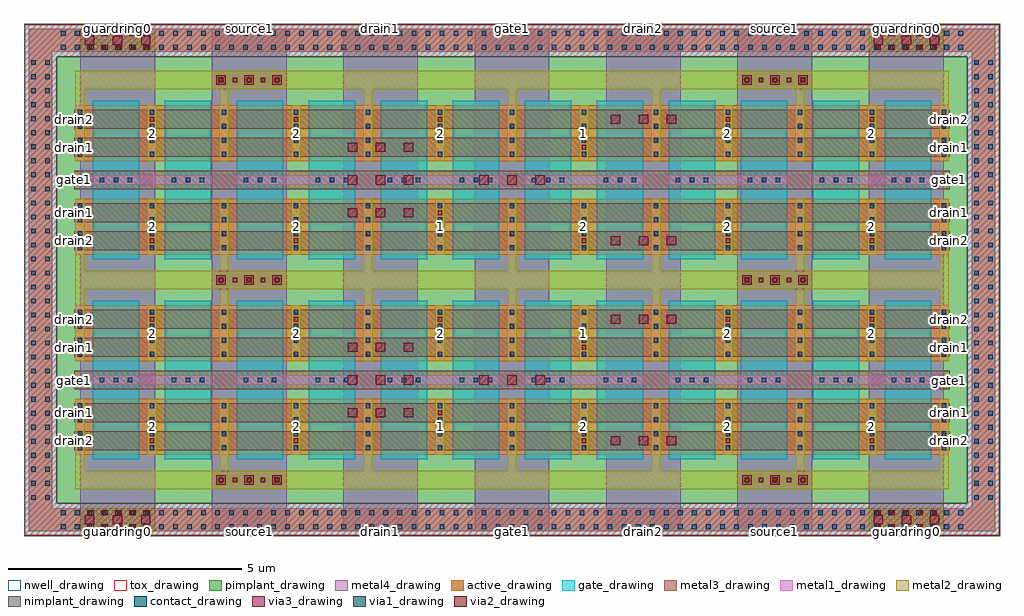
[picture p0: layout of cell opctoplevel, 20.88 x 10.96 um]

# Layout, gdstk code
import gdstk
lib = gdstk.Library(unit=1e-6, precision=1e-09)
def R(c, l, rs):  # rectangles x0, y0, x1, y1
    for r in rs: c.add(gdstk.rectangle(r[:2], r[2:], *l))
def A(c, l, x, y, w, h, nx, ny, dx, dy):  # array of equal rectangles
    R(c, l, [(x+i*dx, y+j*dy, x+i*dx+w, y+j*dy+h) for i in range(nx) for j in range(ny)])
active_drawing = (1, 0)
nwell_drawing = (3, 0)
pimplant_drawing = (4, 0)
nimplant_drawing = (5, 0)
gate_drawing = (6, 0)
contact_drawing = (7, 0)
metal1_drawing = (8, 0)
via1_drawing = (9, 0)
metal2_drawing = (10, 0)
via2_drawing = (11, 0)
metal3_drawing = (12, 0)
via3_drawing = (13, 0)
metal4_drawing = (14, 0)
tox_drawing = (32, 0)

opctoplevel = lib.new_cell('opctoplevel')
A(opctoplevel, active_drawing, -0.37, 0, 3.28, 1.2, 6, 2, 3.08, 2)
A(opctoplevel, active_drawing, -0.37, 4.28, 3.28, 1.2, 6, 2, 3.08, 2)
R(opctoplevel, active_drawing, [(-1.37,-1.64,19.31,-1.14), (-1.37,-1.64,-0.87,9.12), (18.81,-1.64,19.31,9.12), (-1.37,8.62,19.31,9.12)])
R(opctoplevel, nwell_drawing, [(-1.47,-1.74,19.41,9.22)])
R(opctoplevel, pimplant_drawing, [(-0.77,-1.04,18.71,8.52)])
R(opctoplevel, nimplant_drawing, [(-1.47,-1.74,19.41,-1.04), (-1.47,-1.74,-0.77,9.22), (18.71,-1.74,19.41,9.22), (-1.47,8.52,19.41,9.22)])
A(opctoplevel, gate_drawing, 0, -0.1, 1, 1.8, 12, 2, 1.54, 1.6)
A(opctoplevel, gate_drawing, 0, 4.18, 1, 1.8, 12, 2, 1.54, 1.6)
A(opctoplevel, contact_drawing, -0.68, -1.59, 0.1, 0.1, 65, 2, 0.3, 0.3)
A(opctoplevel, contact_drawing, -1.32, -0.96, 0.1, 0.1, 1, 32, 0, 0.3)
A(opctoplevel, contact_drawing, -1.02, -0.96, 0.1, 0.1, 1, 32, 0, 0.3)
A(opctoplevel, contact_drawing, 18.86, -0.96, 0.1, 0.1, 1, 32, 0, 0.3)
A(opctoplevel, contact_drawing, 19.16, -0.96, 0.1, 0.1, 1, 32, 0, 0.3)
A(opctoplevel, contact_drawing, -0.32, 0.1, 0.1, 0.1, 3, 4, 1.54, 0.3)
A(opctoplevel, contact_drawing, 2.76, 0.1, 0.1, 0.1, 3, 4, 1.54, 0.3)
A(opctoplevel, contact_drawing, 5.84, 0.1, 0.1, 0.1, 3, 4, 1.54, 0.3)
A(opctoplevel, contact_drawing, 8.92, 0.1, 0.1, 0.1, 3, 4, 1.54, 0.3)
A(opctoplevel, contact_drawing, 12, 0.1, 0.1, 0.1, 3, 4, 1.54, 0.3)
A(opctoplevel, contact_drawing, 15.08, 0.1, 0.1, 0.1, 3, 4, 1.54, 0.3)
A(opctoplevel, contact_drawing, -0.32, 2.1, 0.1, 0.1, 3, 4, 1.54, 0.3)
A(opctoplevel, contact_drawing, 2.76, 2.1, 0.1, 0.1, 3, 4, 1.54, 0.3)
A(opctoplevel, contact_drawing, 5.84, 2.1, 0.1, 0.1, 3, 4, 1.54, 0.3)
A(opctoplevel, contact_drawing, 8.92, 2.1, 0.1, 0.1, 3, 4, 1.54, 0.3)
A(opctoplevel, contact_drawing, 12, 2.1, 0.1, 0.1, 3, 4, 1.54, 0.3)
A(opctoplevel, contact_drawing, 15.08, 2.1, 0.1, 0.1, 3, 4, 1.54, 0.3)
A(opctoplevel, contact_drawing, -0.32, 4.38, 0.1, 0.1, 3, 4, 1.54, 0.3)
A(opctoplevel, contact_drawing, 2.76, 4.38, 0.1, 0.1, 3, 4, 1.54, 0.3)
A(opctoplevel, contact_drawing, 5.84, 4.38, 0.1, 0.1, 3, 4, 1.54, 0.3)
A(opctoplevel, contact_drawing, 8.92, 4.38, 0.1, 0.1, 3, 4, 1.54, 0.3)
A(opctoplevel, contact_drawing, 12, 4.38, 0.1, 0.1, 3, 4, 1.54, 0.3)
A(opctoplevel, contact_drawing, 15.08, 4.38, 0.1, 0.1, 3, 4, 1.54, 0.3)
A(opctoplevel, contact_drawing, -0.32, 6.38, 0.1, 0.1, 3, 4, 1.54, 0.3)
A(opctoplevel, contact_drawing, 2.76, 6.38, 0.1, 0.1, 3, 4, 1.54, 0.3)
A(opctoplevel, contact_drawing, 5.84, 6.38, 0.1, 0.1, 3, 4, 1.54, 0.3)
A(opctoplevel, contact_drawing, 8.92, 6.38, 0.1, 0.1, 3, 4, 1.54, 0.3)
A(opctoplevel, contact_drawing, 12, 6.38, 0.1, 0.1, 3, 4, 1.54, 0.3)
A(opctoplevel, contact_drawing, 15.08, 6.38, 0.1, 0.1, 3, 4, 1.54, 0.3)
A(opctoplevel, contact_drawing, -0.68, 8.67, 0.1, 0.1, 65, 2, 0.3, 0.3)
R(opctoplevel, contact_drawing, [(0.15,1.55,0.25,1.65), (0.15,1.55,0.25,1.65), (0.45,1.55,0.55,1.65), (0.45,1.55,0.55,1.65), (0.75,1.55,0.85,1.65), (0.75,1.55,0.85,1.65), (1.69,1.55,1.79,1.65), (1.69,1.55,1.79,1.65), (1.99,1.55,2.09,1.65), (1.99,1.55,2.09,1.65), (2.29,1.55,2.39,1.65), (2.29,1.55,2.39,1.65), (3.23,1.55,3.33,1.65), (3.23,1.55,3.33,1.65), (3.53,1.55,3.63,1.65), (3.53,1.55,3.63,1.65), (3.83,1.55,3.93,1.65), (3.83,1.55,3.93,1.65), (4.77,1.55,4.87,1.65), (4.77,1.55,4.87,1.65), (5.07,1.55,5.17,1.65), (5.07,1.55,5.17,1.65), (5.37,1.55,5.47,1.65), (5.37,1.55,5.47,1.65), (6.31,1.55,6.41,1.65), (6.31,1.55,6.41,1.65), (6.61,1.55,6.71,1.65), (6.61,1.55,6.71,1.65), (6.91,1.55,7.01,1.65), (6.91,1.55,7.01,1.65), (7.85,1.55,7.95,1.65), (7.85,1.55,7.95,1.65), (8.15,1.55,8.25,1.65), (8.15,1.55,8.25,1.65), (8.45,1.55,8.55,1.65), (8.45,1.55,8.55,1.65), (9.39,1.55,9.49,1.65), (9.39,1.55,9.49,1.65), (9.69,1.55,9.79,1.65), (9.69,1.55,9.79,1.65), (9.99,1.55,10.09,1.65), (9.99,1.55,10.09,1.65), (10.93,1.55,11.03,1.65), (10.93,1.55,11.03,1.65), (11.23,1.55,11.33,1.65), (11.23,1.55,11.33,1.65), (11.53,1.55,11.63,1.65), (11.53,1.55,11.63,1.65), (12.47,1.55,12.57,1.65), (12.47,1.55,12.57,1.65), (12.77,1.55,12.87,1.65), (12.77,1.55,12.87,1.65), (13.07,1.55,13.17,1.65), (13.07,1.55,13.17,1.65), (14.01,1.55,14.11,1.65), (14.01,1.55,14.11,1.65), (14.31,1.55,14.41,1.65), (14.31,1.55,14.41,1.65), (14.61,1.55,14.71,1.65), (14.61,1.55,14.71,1.65), (15.55,1.55,15.65,1.65), (15.55,1.55,15.65,1.65), (15.85,1.55,15.95,1.65), (15.85,1.55,15.95,1.65), (16.15,1.55,16.25,1.65), (16.15,1.55,16.25,1.65), (17.09,1.55,17.19,1.65), (17.09,1.55,17.19,1.65), (17.39,1.55,17.49,1.65), (17.39,1.55,17.49,1.65), (17.69,1.55,17.79,1.65), (17.69,1.55,17.79,1.65), (0.15,5.83,0.25,5.93), (0.15,5.83,0.25,5.93), (0.45,5.83,0.55,5.93), (0.45,5.83,0.55,5.93), (0.75,5.83,0.85,5.93), (0.75,5.83,0.85,5.93), (1.69,5.83,1.79,5.93), (1.69,5.83,1.79,5.93), (1.99,5.83,2.09,5.93), (1.99,5.83,2.09,5.93), (2.29,5.83,2.39,5.93), (2.29,5.83,2.39,5.93), (3.23,5.83,3.33,5.93), (3.23,5.83,3.33,5.93), (3.53,5.83,3.63,5.93), (3.53,5.83,3.63,5.93), (3.83,5.83,3.93,5.93), (3.83,5.83,3.93,5.93), (4.77,5.83,4.87,5.93), (4.77,5.83,4.87,5.93), (5.07,5.83,5.17,5.93), (5.07,5.83,5.17,5.93), (5.37,5.83,5.47,5.93), (5.37,5.83,5.47,5.93), (6.31,5.83,6.41,5.93), (6.31,5.83,6.41,5.93), (6.61,5.83,6.71,5.93), (6.61,5.83,6.71,5.93), (6.91,5.83,7.01,5.93), (6.91,5.83,7.01,5.93), (7.85,5.83,7.95,5.93), (7.85,5.83,7.95,5.93), (8.15,5.83,8.25,5.93), (8.15,5.83,8.25,5.93), (8.45,5.83,8.55,5.93), (8.45,5.83,8.55,5.93), (9.39,5.83,9.49,5.93), (9.39,5.83,9.49,5.93), (9.69,5.83,9.79,5.93), (9.69,5.83,9.79,5.93), (9.99,5.83,10.09,5.93), (9.99,5.83,10.09,5.93), (10.93,5.83,11.03,5.93), (10.93,5.83,11.03,5.93), (11.23,5.83,11.33,5.93), (11.23,5.83,11.33,5.93), (11.53,5.83,11.63,5.93), (11.53,5.83,11.63,5.93), (12.47,5.83,12.57,5.93), (12.47,5.83,12.57,5.93), (12.77,5.83,12.87,5.93), (12.77,5.83,12.87,5.93), (13.07,5.83,13.17,5.93), (13.07,5.83,13.17,5.93), (14.01,5.83,14.11,5.93), (14.01,5.83,14.11,5.93), (14.31,5.83,14.41,5.93), (14.31,5.83,14.41,5.93), (14.61,5.83,14.71,5.93), (14.61,5.83,14.71,5.93), (15.55,5.83,15.65,5.93), (15.55,5.83,15.65,5.93), (15.85,5.83,15.95,5.93), (15.85,5.83,15.95,5.93), (16.15,5.83,16.25,5.93), (16.15,5.83,16.25,5.93), (17.09,5.83,17.19,5.93), (17.09,5.83,17.19,5.93), (17.39,5.83,17.49,5.93), (17.39,5.83,17.49,5.93), (17.69,5.83,17.79,5.93), (17.69,5.83,17.79,5.93)])
A(opctoplevel, metal1_drawing, -0.37, 0, 0.2, 1.2, 3, 2, 1.54, 2)
A(opctoplevel, metal1_drawing, 2.71, 0, 0.2, 1.2, 3, 2, 1.54, 2)
A(opctoplevel, metal1_drawing, 5.79, 0, 0.2, 1.2, 3, 2, 1.54, 2)
A(opctoplevel, metal1_drawing, 8.87, 0, 0.2, 1.2, 3, 2, 1.54, 2)
A(opctoplevel, metal1_drawing, 11.95, 0, 0.2, 1.2, 3, 2, 1.54, 2)
A(opctoplevel, metal1_drawing, 15.03, 0, 0.2, 1.2, 3, 2, 1.54, 2)
A(opctoplevel, metal1_drawing, -0.37, 4.28, 0.2, 1.2, 3, 2, 1.54, 2)
A(opctoplevel, metal1_drawing, 2.71, 4.28, 0.2, 1.2, 3, 2, 1.54, 2)
A(opctoplevel, metal1_drawing, 5.79, 4.28, 0.2, 1.2, 3, 2, 1.54, 2)
A(opctoplevel, metal1_drawing, 8.87, 4.28, 0.2, 1.2, 3, 2, 1.54, 2)
A(opctoplevel, metal1_drawing, 11.95, 4.28, 0.2, 1.2, 3, 2, 1.54, 2)
A(opctoplevel, metal1_drawing, 15.03, 4.28, 0.2, 1.2, 3, 2, 1.54, 2)
R(opctoplevel, metal1_drawing, [(-1.37,-1.64,19.31,-1.14), (-1.37,-1.64,-0.87,9.12), (-0.266,-1.64,1.334,-1.14), (16.606,-1.64,18.206,-1.14), (18.81,-1.64,19.31,9.12), (0,1.5,2.54,1.7), (0,1.5,2.54,1.7), (3.08,1.5,5.62,1.7), (3.08,1.5,5.62,1.7), (6.16,1.5,8.7,1.7), (6.16,1.5,8.7,1.7), (9.24,1.5,11.78,1.7), (9.24,1.5,11.78,1.7), (12.32,1.5,14.86,1.7), (12.32,1.5,14.86,1.7), (15.4,1.5,17.94,1.7), (15.4,1.5,17.94,1.7), (0,5.78,2.54,5.98), (0,5.78,2.54,5.98), (3.08,5.78,5.62,5.98), (3.08,5.78,5.62,5.98), (6.16,5.78,8.7,5.98), (6.16,5.78,8.7,5.98), (9.24,5.78,11.78,5.98), (9.24,5.78,11.78,5.98), (12.32,5.78,14.86,5.98), (12.32,5.78,14.86,5.98), (15.4,5.78,17.94,5.98), (15.4,5.78,17.94,5.98), (-1.37,8.62,19.31,9.12), (-0.266,8.62,1.334,9.12), (16.606,8.62,18.206,9.12)])
A(opctoplevel, via1_drawing, -0.116, -1.59, 0.1, 0.1, 5, 2, 0.3, 0.3)
A(opctoplevel, via1_drawing, 16.756, -1.59, 0.1, 0.1, 5, 2, 0.3, 0.3)
A(opctoplevel, via1_drawing, -0.32, 0.1, 0.1, 0.1, 3, 4, 1.54, 0.3)
A(opctoplevel, via1_drawing, 2.76, 0.1, 0.1, 0.1, 3, 4, 1.54, 0.3)
A(opctoplevel, via1_drawing, 5.84, 0.1, 0.1, 0.1, 3, 4, 1.54, 0.3)
A(opctoplevel, via1_drawing, 8.92, 0.1, 0.1, 0.1, 3, 4, 1.54, 0.3)
A(opctoplevel, via1_drawing, 12, 0.1, 0.1, 0.1, 3, 4, 1.54, 0.3)
A(opctoplevel, via1_drawing, 15.08, 0.1, 0.1, 0.1, 3, 4, 1.54, 0.3)
A(opctoplevel, via1_drawing, -0.32, 2.1, 0.1, 0.1, 3, 4, 1.54, 0.3)
A(opctoplevel, via1_drawing, 2.76, 2.1, 0.1, 0.1, 3, 4, 1.54, 0.3)
A(opctoplevel, via1_drawing, 5.84, 2.1, 0.1, 0.1, 3, 4, 1.54, 0.3)
A(opctoplevel, via1_drawing, 8.92, 2.1, 0.1, 0.1, 3, 4, 1.54, 0.3)
A(opctoplevel, via1_drawing, 12, 2.1, 0.1, 0.1, 3, 4, 1.54, 0.3)
A(opctoplevel, via1_drawing, 15.08, 2.1, 0.1, 0.1, 3, 4, 1.54, 0.3)
A(opctoplevel, via1_drawing, -0.32, 4.38, 0.1, 0.1, 3, 4, 1.54, 0.3)
A(opctoplevel, via1_drawing, 2.76, 4.38, 0.1, 0.1, 3, 4, 1.54, 0.3)
A(opctoplevel, via1_drawing, 5.84, 4.38, 0.1, 0.1, 3, 4, 1.54, 0.3)
A(opctoplevel, via1_drawing, 8.92, 4.38, 0.1, 0.1, 3, 4, 1.54, 0.3)
A(opctoplevel, via1_drawing, 12, 4.38, 0.1, 0.1, 3, 4, 1.54, 0.3)
A(opctoplevel, via1_drawing, 15.08, 4.38, 0.1, 0.1, 3, 4, 1.54, 0.3)
A(opctoplevel, via1_drawing, -0.32, 6.38, 0.1, 0.1, 3, 4, 1.54, 0.3)
A(opctoplevel, via1_drawing, 2.76, 6.38, 0.1, 0.1, 3, 4, 1.54, 0.3)
A(opctoplevel, via1_drawing, 5.84, 6.38, 0.1, 0.1, 3, 4, 1.54, 0.3)
A(opctoplevel, via1_drawing, 8.92, 6.38, 0.1, 0.1, 3, 4, 1.54, 0.3)
A(opctoplevel, via1_drawing, 12, 6.38, 0.1, 0.1, 3, 4, 1.54, 0.3)
A(opctoplevel, via1_drawing, 15.08, 6.38, 0.1, 0.1, 3, 4, 1.54, 0.3)
A(opctoplevel, via1_drawing, -0.116, 8.67, 0.1, 0.1, 5, 2, 0.3, 0.3)
A(opctoplevel, via1_drawing, 16.756, 8.67, 0.1, 0.1, 5, 2, 0.3, 0.3)
A(opctoplevel, metal2_drawing, -0.37, -0.74, 3.28, 0.4, 6, 2, 3.08, 8.56)
A(opctoplevel, metal2_drawing, -0.37, 0, 0.2, 1.2, 3, 2, 1.54, 2)
A(opctoplevel, metal2_drawing, 2.71, 0, 0.2, 1.2, 3, 2, 1.54, 2)
A(opctoplevel, metal2_drawing, 5.79, 0, 0.2, 1.2, 3, 2, 1.54, 2)
A(opctoplevel, metal2_drawing, 8.87, 0, 0.2, 1.2, 3, 2, 1.54, 2)
A(opctoplevel, metal2_drawing, 11.95, 0, 0.2, 1.2, 3, 2, 1.54, 2)
A(opctoplevel, metal2_drawing, 15.03, 0, 0.2, 1.2, 3, 2, 1.54, 2)
A(opctoplevel, metal2_drawing, 10.41, 0.1, 0.2, 0.4, 3, 2, 3.08, 4.28)
A(opctoplevel, metal2_drawing, 1.17, 2.7, 0.2, 0.4, 3, 2, 3.08, 4.28)
A(opctoplevel, metal2_drawing, -0.37, 4.28, 0.2, 1.2, 3, 2, 1.54, 2)
A(opctoplevel, metal2_drawing, 2.71, 4.28, 0.2, 1.2, 3, 2, 1.54, 2)
A(opctoplevel, metal2_drawing, 5.79, 4.28, 0.2, 1.2, 3, 2, 1.54, 2)
A(opctoplevel, metal2_drawing, 8.87, 4.28, 0.2, 1.2, 3, 2, 1.54, 2)
A(opctoplevel, metal2_drawing, 11.95, 4.28, 0.2, 1.2, 3, 2, 1.54, 2)
A(opctoplevel, metal2_drawing, 15.03, 4.28, 0.2, 1.2, 3, 2, 1.54, 2)
R(opctoplevel, metal2_drawing, [(-0.266,-1.64,1.334,-1.14), (16.606,-1.64,18.206,-1.14), (2.546,-0.74,4.146,-0.34), (13.794,-0.74,15.394,-0.34), (-0.37,-0.34,-0.17,0), (2.71,-0.34,2.91,0), (2.71,-0.34,2.91,0), (5.79,-0.34,5.99,0), (5.79,-0.34,5.99,0), (8.87,-0.34,9.07,0), (8.87,-0.34,9.07,0), (11.95,-0.34,12.15,0), (11.95,-0.34,12.15,0), (15.03,-0.34,15.23,0), (15.03,-0.34,15.23,0), (18.11,-0.34,18.31,0), (1.17,0.1,1.37,0.5), (4.25,0.1,4.45,0.5), (7.33,0.7,7.53,1.1), (10.41,2.1,10.61,2.5), (13.49,2.7,13.69,3.1), (16.57,2.7,16.77,3.1), (-0.37,3.2,-0.17,3.54), (2.71,3.2,2.91,3.54), (2.71,3.2,2.91,3.54), (5.79,3.2,5.99,3.54), (5.79,3.2,5.99,3.54), (8.87,3.2,9.07,3.54), (8.87,3.2,9.07,3.54), (11.95,3.2,12.15,3.54), (11.95,3.2,12.15,3.54), (15.03,3.2,15.23,3.54), (15.03,3.2,15.23,3.54), (18.11,3.2,18.31,3.54), (-0.37,3.54,2.91,3.94), (-0.37,3.54,2.91,3.94), (2.546,3.54,4.146,3.94), (2.546,3.54,4.146,3.94), (2.71,3.54,5.99,3.94), (2.71,3.54,5.99,3.94), (5.79,3.54,9.07,3.94), (5.79,3.54,9.07,3.94), (8.87,3.54,12.15,3.94), (8.87,3.54,12.15,3.94), (11.95,3.54,15.23,3.94), (11.95,3.54,15.23,3.94), (13.794,3.54,15.394,3.94), (13.794,3.54,15.394,3.94), (15.03,3.54,18.31,3.94), (15.03,3.54,18.31,3.94), (-0.37,3.94,-0.17,4.28), (2.71,3.94,2.91,4.28), (2.71,3.94,2.91,4.28), (5.79,3.94,5.99,4.28), (5.79,3.94,5.99,4.28), (8.87,3.94,9.07,4.28), (8.87,3.94,9.07,4.28), (11.95,3.94,12.15,4.28), (11.95,3.94,12.15,4.28), (15.03,3.94,15.23,4.28), (15.03,3.94,15.23,4.28), (18.11,3.94,18.31,4.28), (1.17,4.38,1.37,4.78), (4.25,4.38,4.45,4.78), (7.33,4.98,7.53,5.38), (10.41,6.38,10.61,6.78), (13.49,6.98,13.69,7.38), (16.57,6.98,16.77,7.38), (-0.37,7.48,-0.17,7.82), (2.71,7.48,2.91,7.82), (2.71,7.48,2.91,7.82), (5.79,7.48,5.99,7.82), (5.79,7.48,5.99,7.82), (8.87,7.48,9.07,7.82), (8.87,7.48,9.07,7.82), (11.95,7.48,12.15,7.82), (11.95,7.48,12.15,7.82), (15.03,7.48,15.23,7.82), (15.03,7.48,15.23,7.82), (18.11,7.48,18.31,7.82), (2.546,7.82,4.146,8.22), (13.794,7.82,15.394,8.22), (-0.266,8.62,1.334,9.12), (16.606,8.62,18.206,9.12)])
A(opctoplevel, via2_drawing, -0.116, -1.59, 0.1, 0.1, 5, 2, 0.3, 0.3)
A(opctoplevel, via2_drawing, 16.756, -1.59, 0.1, 0.1, 5, 2, 0.3, 0.3)
A(opctoplevel, via2_drawing, 2.696, -0.59, 0.1, 0.1, 5, 2, 0.3, 8.56)
A(opctoplevel, via2_drawing, 13.944, -0.59, 0.1, 0.1, 5, 2, 0.3, 8.56)
A(opctoplevel, via2_drawing, 10.46, 0.25, 0.1, 0.1, 3, 2, 3.08, 4.28)
A(opctoplevel, via2_drawing, 1.22, 2.85, 0.1, 0.1, 3, 2, 3.08, 4.28)
A(opctoplevel, via2_drawing, -0.116, 8.67, 0.1, 0.1, 5, 2, 0.3, 0.3)
A(opctoplevel, via2_drawing, 16.756, 8.67, 0.1, 0.1, 5, 2, 0.3, 0.3)
R(opctoplevel, via2_drawing, [(1.22,0.25,1.32,0.35), (4.3,0.25,4.4,0.35), (7.38,0.85,7.48,0.95), (10.46,2.25,10.56,2.35), (13.54,2.85,13.64,2.95), (16.62,2.85,16.72,2.95), (2.696,3.69,2.796,3.79), (2.696,3.69,2.796,3.79), (2.996,3.69,3.096,3.79), (2.996,3.69,3.096,3.79), (3.296,3.69,3.396,3.79), (3.296,3.69,3.396,3.79), (3.596,3.69,3.696,3.79), (3.596,3.69,3.696,3.79), (3.896,3.69,3.996,3.79), (3.896,3.69,3.996,3.79), (13.944,3.69,14.044,3.79), (13.944,3.69,14.044,3.79), (14.244,3.69,14.344,3.79), (14.244,3.69,14.344,3.79), (14.544,3.69,14.644,3.79), (14.544,3.69,14.644,3.79), (14.844,3.69,14.944,3.79), (14.844,3.69,14.944,3.79), (15.144,3.69,15.244,3.79), (15.144,3.69,15.244,3.79), (1.22,4.53,1.32,4.63), (4.3,4.53,4.4,4.63), (7.38,5.13,7.48,5.23), (10.46,6.53,10.56,6.63), (13.54,7.13,13.64,7.23), (16.62,7.13,16.72,7.23)])
A(opctoplevel, metal3_drawing, 10.41, 0.1, 0.2, 0.4, 3, 2, 3.08, 4.28)
A(opctoplevel, metal3_drawing, -0.4, 0.7, 18.74, 0.4, 1, 3, 0, 0.7)
A(opctoplevel, metal3_drawing, 1.17, 2.7, 0.2, 0.4, 3, 2, 3.08, 4.28)
A(opctoplevel, metal3_drawing, -0.4, 4.98, 18.74, 0.4, 1, 3, 0, 0.7)
R(opctoplevel, metal3_drawing, [(-0.266,-1.64,1.334,-1.14), (16.606,-1.64,18.206,-1.14), (2.546,-0.74,4.146,-0.34), (13.794,-0.74,15.394,-0.34), (-0.4,0.1,18.34,0.5), (1.17,0.1,1.37,0.5), (4.25,0.1,4.45,0.5), (7.33,0.7,7.53,1.1), (10.41,2.1,10.61,2.5), (-0.4,2.7,18.34,3.1), (13.49,2.7,13.69,3.1), (16.57,2.7,16.77,3.1), (2.546,3.54,4.146,3.94), (2.546,3.54,4.146,3.94), (13.794,3.54,15.394,3.94), (13.794,3.54,15.394,3.94), (-0.4,4.38,18.34,4.78), (1.17,4.38,1.37,4.78), (4.25,4.38,4.45,4.78), (7.33,4.98,7.53,5.38), (10.41,6.38,10.61,6.78), (-0.4,6.98,18.34,7.38), (13.49,6.98,13.69,7.38), (16.57,6.98,16.77,7.38), (2.546,7.82,4.146,8.22), (13.794,7.82,15.394,8.22), (-0.266,8.62,1.334,9.12), (16.606,8.62,18.206,9.12)])
A(opctoplevel, via3_drawing, -0.166, -1.49, 0.2, 0.2, 3, 2, 0.6, 10.26)
A(opctoplevel, via3_drawing, 16.706, -1.49, 0.2, 0.2, 3, 2, 0.6, 10.26)
A(opctoplevel, via3_drawing, 2.646, -0.64, 0.2, 0.2, 3, 2, 0.6, 8.56)
A(opctoplevel, via3_drawing, 13.894, -0.64, 0.2, 0.2, 3, 2, 0.6, 8.56)
A(opctoplevel, via3_drawing, 11.082, 0.2, 0.2, 0.2, 3, 2, 0.6, 2.6)
A(opctoplevel, via3_drawing, 5.458, 0.8, 0.2, 0.2, 3, 2, 0.6, 1.4)
A(opctoplevel, via3_drawing, 11.082, 4.48, 0.2, 0.2, 3, 2, 0.6, 2.6)
A(opctoplevel, via3_drawing, 5.458, 5.08, 0.2, 0.2, 3, 2, 0.6, 1.4)
R(opctoplevel, via3_drawing, [(5.458,1.5,5.658,1.7), (5.458,1.5,5.658,1.7), (5.458,1.5,5.658,1.7), (5.458,1.5,5.658,1.7), (5.458,1.5,5.658,1.7), (5.458,1.5,5.658,1.7), (5.458,1.5,5.658,1.7), (5.458,1.5,5.658,1.7), (5.458,1.5,5.658,1.7), (5.458,1.5,5.658,1.7), (5.458,1.5,5.658,1.7), (5.458,1.5,5.658,1.7), (6.058,1.5,6.258,1.7), (6.058,1.5,6.258,1.7), (6.058,1.5,6.258,1.7), (6.058,1.5,6.258,1.7), (6.058,1.5,6.258,1.7), (6.058,1.5,6.258,1.7), (6.058,1.5,6.258,1.7), (6.058,1.5,6.258,1.7), (6.058,1.5,6.258,1.7), (6.058,1.5,6.258,1.7), (6.058,1.5,6.258,1.7), (6.058,1.5,6.258,1.7), (6.658,1.5,6.858,1.7), (6.658,1.5,6.858,1.7), (6.658,1.5,6.858,1.7), (6.658,1.5,6.858,1.7), (6.658,1.5,6.858,1.7), (6.658,1.5,6.858,1.7), (6.658,1.5,6.858,1.7), (6.658,1.5,6.858,1.7), (6.658,1.5,6.858,1.7), (6.658,1.5,6.858,1.7), (6.658,1.5,6.858,1.7), (6.658,1.5,6.858,1.7), (8.27,1.5,8.47,1.7), (8.27,1.5,8.47,1.7), (8.87,1.5,9.07,1.7), (8.87,1.5,9.07,1.7), (9.47,1.5,9.67,1.7), (9.47,1.5,9.67,1.7), (2.646,3.64,2.846,3.84), (2.646,3.64,2.846,3.84), (3.246,3.64,3.446,3.84), (3.246,3.64,3.446,3.84), (3.846,3.64,4.046,3.84), (3.846,3.64,4.046,3.84), (13.894,3.64,14.094,3.84), (13.894,3.64,14.094,3.84), (14.494,3.64,14.694,3.84), (14.494,3.64,14.694,3.84), (15.094,3.64,15.294,3.84), (15.094,3.64,15.294,3.84), (5.458,5.78,5.658,5.98), (5.458,5.78,5.658,5.98), (5.458,5.78,5.658,5.98), (5.458,5.78,5.658,5.98), (5.458,5.78,5.658,5.98), (5.458,5.78,5.658,5.98), (5.458,5.78,5.658,5.98), (5.458,5.78,5.658,5.98), (5.458,5.78,5.658,5.98), (5.458,5.78,5.658,5.98), (5.458,5.78,5.658,5.98), (5.458,5.78,5.658,5.98), (6.058,5.78,6.258,5.98), (6.058,5.78,6.258,5.98), (6.058,5.78,6.258,5.98), (6.058,5.78,6.258,5.98), (6.058,5.78,6.258,5.98), (6.058,5.78,6.258,5.98), (6.058,5.78,6.258,5.98), (6.058,5.78,6.258,5.98), (6.058,5.78,6.258,5.98), (6.058,5.78,6.258,5.98), (6.058,5.78,6.258,5.98), (6.058,5.78,6.258,5.98), (6.658,5.78,6.858,5.98), (6.658,5.78,6.858,5.98), (6.658,5.78,6.858,5.98), (6.658,5.78,6.858,5.98), (6.658,5.78,6.858,5.98), (6.658,5.78,6.858,5.98), (6.658,5.78,6.858,5.98), (6.658,5.78,6.858,5.98), (6.658,5.78,6.858,5.98), (6.658,5.78,6.858,5.98), (6.658,5.78,6.858,5.98), (6.658,5.78,6.858,5.98), (8.27,5.78,8.47,5.98), (8.27,5.78,8.47,5.98), (8.87,5.78,9.07,5.98), (8.87,5.78,9.07,5.98), (9.47,5.78,9.67,5.98), (9.47,5.78,9.67,5.98)])
A(opctoplevel, metal4_drawing, -0.266, -1.64, 1.6, 10.76, 7, 1, 2.812, 0)
R(opctoplevel, metal4_drawing, [(-0.266,-1.64,1.334,-1.14), (16.606,-1.64,18.206,-1.14), (2.546,-0.74,4.146,-0.34), (13.794,-0.74,15.394,-0.34), (2.546,3.54,4.146,3.94), (2.546,3.54,4.146,3.94), (13.794,3.54,15.394,3.94), (13.794,3.54,15.394,3.94), (2.546,7.82,4.146,8.22), (13.794,7.82,15.394,8.22), (-0.266,8.62,1.334,9.12), (16.606,8.62,18.206,9.12)])
R(opctoplevel, tox_drawing, [(-1.45,-1.72,19.39,9.2)])
opctoplevel.add(gdstk.Label('2', (1.27,0.6), layer=234, texttype=0))
opctoplevel.add(gdstk.Label('2', (4.35,0.6), layer=234, texttype=0))
opctoplevel.add(gdstk.Label('1', (7.43,0.6), layer=234, texttype=0))
opctoplevel.add(gdstk.Label('2', (10.51,0.6), layer=234, texttype=0))
opctoplevel.add(gdstk.Label('2', (13.59,0.6), layer=234, texttype=0))
opctoplevel.add(gdstk.Label('2', (16.67,0.6), layer=234, texttype=0))
opctoplevel.add(gdstk.Label('2', (1.27,2.6), layer=234, texttype=0))
opctoplevel.add(gdstk.Label('2', (4.35,2.6), layer=234, texttype=0))
opctoplevel.add(gdstk.Label('2', (7.43,2.6), layer=234, texttype=0))
opctoplevel.add(gdstk.Label('1', (10.51,2.6), layer=234, texttype=0))
opctoplevel.add(gdstk.Label('2', (13.59,2.6), layer=234, texttype=0))
opctoplevel.add(gdstk.Label('2', (16.67,2.6), layer=234, texttype=0))
opctoplevel.add(gdstk.Label('2', (1.27,4.88), layer=234, texttype=0))
opctoplevel.add(gdstk.Label('2', (4.35,4.88), layer=234, texttype=0))
opctoplevel.add(gdstk.Label('1', (7.43,4.88), layer=234, texttype=0))
opctoplevel.add(gdstk.Label('2', (10.51,4.88), layer=234, texttype=0))
opctoplevel.add(gdstk.Label('2', (13.59,4.88), layer=234, texttype=0))
opctoplevel.add(gdstk.Label('2', (16.67,4.88), layer=234, texttype=0))
opctoplevel.add(gdstk.Label('2', (1.27,6.88), layer=234, texttype=0))
opctoplevel.add(gdstk.Label('2', (4.35,6.88), layer=234, texttype=0))
opctoplevel.add(gdstk.Label('2', (7.43,6.88), layer=234, texttype=0))
opctoplevel.add(gdstk.Label('1', (10.51,6.88), layer=234, texttype=0))
opctoplevel.add(gdstk.Label('2', (13.59,6.88), layer=234, texttype=0))
opctoplevel.add(gdstk.Label('2', (16.67,6.88), layer=234, texttype=0))
opctoplevel.add(gdstk.Label('gate1', (-0.4,1.6), layer=12, texttype=0))
opctoplevel.add(gdstk.Label('gate1', (18.34,1.6), layer=12, texttype=0))
opctoplevel.add(gdstk.Label('gate1', (-0.4,5.88), layer=12, texttype=0))
opctoplevel.add(gdstk.Label('gate1', (18.34,5.88), layer=12, texttype=0))
opctoplevel.add(gdstk.Label('drain1', (-0.4,0.9), layer=12, texttype=0))
opctoplevel.add(gdstk.Label('drain1', (18.34,0.9), layer=12, texttype=0))
opctoplevel.add(gdstk.Label('drain2', (-0.4,0.3), layer=12, texttype=0))
opctoplevel.add(gdstk.Label('drain2', (18.34,0.3), layer=12, texttype=0))
opctoplevel.add(gdstk.Label('drain1', (-0.4,2.3), layer=12, texttype=0))
opctoplevel.add(gdstk.Label('drain1', (18.34,2.3), layer=12, texttype=0))
opctoplevel.add(gdstk.Label('drain2', (-0.4,2.9), layer=12, texttype=0))
opctoplevel.add(gdstk.Label('drain2', (18.34,2.9), layer=12, texttype=0))
opctoplevel.add(gdstk.Label('drain1', (-0.4,5.18), layer=12, texttype=0))
opctoplevel.add(gdstk.Label('drain1', (18.34,5.18), layer=12, texttype=0))
opctoplevel.add(gdstk.Label('drain2', (-0.4,4.58), layer=12, texttype=0))
opctoplevel.add(gdstk.Label('drain2', (18.34,4.58), layer=12, texttype=0))
opctoplevel.add(gdstk.Label('drain1', (-0.4,6.58), layer=12, texttype=0))
opctoplevel.add(gdstk.Label('drain1', (18.34,6.58), layer=12, texttype=0))
opctoplevel.add(gdstk.Label('drain2', (-0.4,7.18), layer=12, texttype=0))
opctoplevel.add(gdstk.Label('drain2', (18.34,7.18), layer=12, texttype=0))
opctoplevel.add(gdstk.Label('guardring0', (0.534,-1.64), layer=14, texttype=0))
opctoplevel.add(gdstk.Label('guardring0', (0.534,9.12), layer=14, texttype=0))
opctoplevel.add(gdstk.Label('source1', (3.346,-1.64), layer=14, texttype=0))
opctoplevel.add(gdstk.Label('source1', (3.346,9.12), layer=14, texttype=0))
opctoplevel.add(gdstk.Label('drain1', (6.158,-1.64), layer=14, texttype=0))
opctoplevel.add(gdstk.Label('drain1', (6.158,9.12), layer=14, texttype=0))
opctoplevel.add(gdstk.Label('gate1', (8.97,-1.64), layer=14, texttype=0))
opctoplevel.add(gdstk.Label('gate1', (8.97,9.12), layer=14, texttype=0))
opctoplevel.add(gdstk.Label('drain2', (11.782,-1.64), layer=14, texttype=0))
opctoplevel.add(gdstk.Label('drain2', (11.782,9.12), layer=14, texttype=0))
opctoplevel.add(gdstk.Label('source1', (14.594,-1.64), layer=14, texttype=0))
opctoplevel.add(gdstk.Label('source1', (14.594,9.12), layer=14, texttype=0))
opctoplevel.add(gdstk.Label('guardring0', (17.406,-1.64), layer=14, texttype=0))
opctoplevel.add(gdstk.Label('guardring0', (17.406,9.12), layer=14, texttype=0))

lib.write_gds('opctoplevel.gds')
